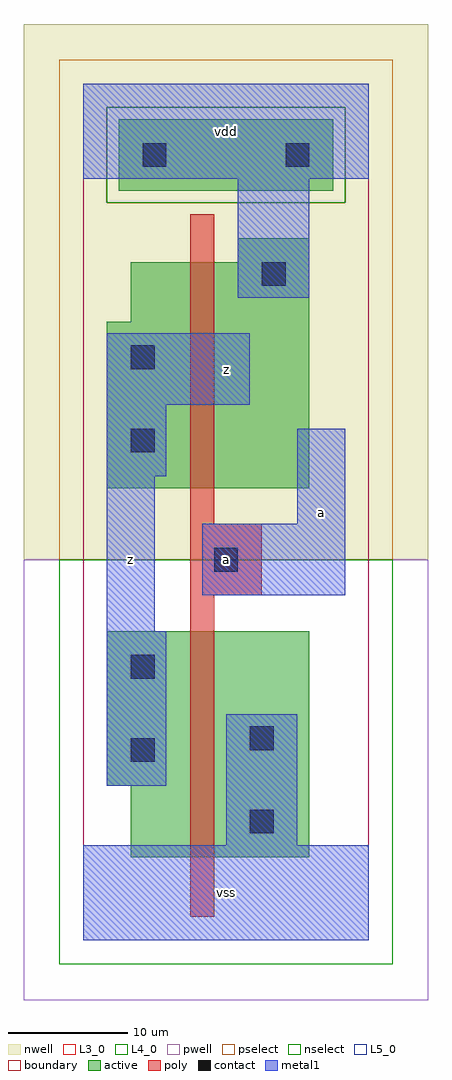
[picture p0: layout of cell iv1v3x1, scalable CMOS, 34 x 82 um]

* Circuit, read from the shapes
.subckt iv1v3x1 a vdd vss z
M1 vss a z VSUBS nfet w=19u l=2u
M2 vdd a z vdd pfet w=19u l=2u
.ends

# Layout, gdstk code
import gdstk
lib = gdstk.Library(unit=1e-6, precision=1e-09)
def R(c, l, rs):  # rectangles x0, y0, x1, y1
    for r in rs: c.add(gdstk.rectangle(r[:2], r[2:], *l))
L3_0 = (3, 0)
L4_0 = (4, 0)
L5_0 = (5, 0)
contact = (25, 0)
pwell = (41, 0)
nwell = (42, 0)
active = (43, 0)
pselect = (44, 0)
nselect = (45, 0)
poly = (46, 0)
metal1 = (49, 0)
boundary = (63, 0)

iv1v3x1 = lib.new_cell('iv1v3x1')
R(iv1v3x1, L3_0, [(4,7,19,13), (2,13,19,26)])
R(iv1v3x1, L4_0, [(2,38,19,52), (4,52,19,57), (13,57,19,59)])
R(iv1v3x1, L5_0, [(3,63,21,69)])
R(iv1v3x1, contact, [(14,9,16,11), (4,15,6,17), (14,16,16,18), (4,22,6,24), (11,31,13,33), (4,41,6,43), (4,48,6,50), (15,55,17,57), (5,65,7,67), (17,65,19,67)])
R(iv1v3x1, pwell, [(-5,-5,29,32)])
R(iv1v3x1, nwell, [(-5,32,29,77)])
R(iv1v3x1, active, [(4,7,19,13), (2,13,19,26), (2,38,19,52), (4,52,19,57), (13,57,19,59), (3,63,21,69)])
R(iv1v3x1, pselect, [(-2,32,26,62), (-2,62,2,70), (22,62,26,70), (-2,70,26,74)])
R(iv1v3x1, nselect, [(-2,-2,26,32), (2,62,22,70)])
R(iv1v3x1, poly, [(9,2,11,29), (9,29,15,35), (9,35,11,61)])
R(iv1v3x1, metal1, [(0,0,24,8), (12,8,18,19), (2,13,7,26), (2,26,6,39), (10,29,22,35), (18,35,22,43), (2,39,7,45), (2,45,14,51), (13,54,19,64), (0,64,24,72)])
R(iv1v3x1, boundary, [(0,0,24,72)])
iv1v3x1.add(gdstk.Label('z', (4,32), layer=49, texttype=0))
iv1v3x1.add(gdstk.Label('vss', (12,4), layer=49, texttype=0))
iv1v3x1.add(gdstk.Label('a', (12,32), layer=49, texttype=0))
iv1v3x1.add(gdstk.Label('z', (12,48), layer=49, texttype=0))
iv1v3x1.add(gdstk.Label('vdd', (12,68), layer=49, texttype=0))
iv1v3x1.add(gdstk.Label('a', (20,36), layer=49, texttype=0))

lib.write_gds('iv1v3x1.gds')
